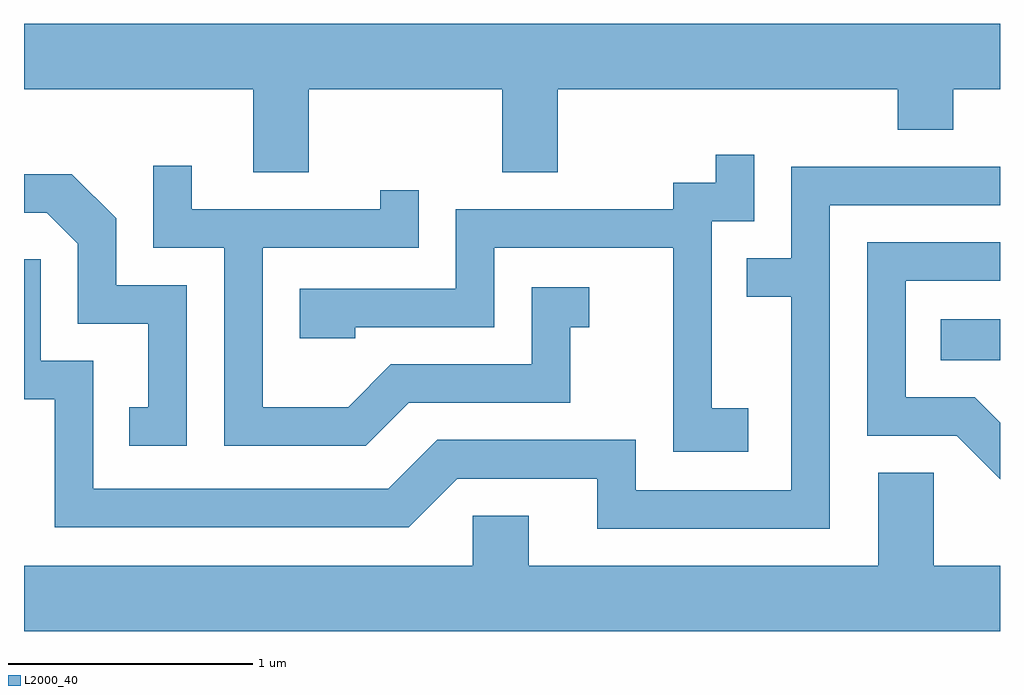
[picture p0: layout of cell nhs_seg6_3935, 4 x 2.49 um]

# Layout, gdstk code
import gdstk
lib = gdstk.Library(unit=1e-6, precision=1e-09)
def R(c, l, rs):  # rectangles x0, y0, x1, y1
    for r in rs: c.add(gdstk.rectangle(r[:2], r[2:], *l))
def P(c, l, *ps):  # polygons
    for p in ps: c.add(gdstk.Polygon(p, *l))
L2000_40 = (2000, 40)

nhs_seg6_3935 = lib.new_cell('nhs_seg6_3935')
R(nhs_seg6_3935, L2000_40, [(307.368,1597.766,307.611,1597.934)])
P(nhs_seg6_3935, L2000_40, [(304.779,1598.876),(305.571,1598.876),(305.571,1598.536),(305.799,1598.536),(305.799,1598.876),(307.191,1598.876),(307.191,1598.711),(307.419,1598.711),(307.419,1598.876),(307.611,1598.876),(307.611,1599.144),(303.611,1599.144),(303.611,1598.876),(304.551,1598.876),(304.551,1598.536),(304.779,1598.536)],
  [(306.579,1597.569),(306.429,1597.569),(306.429,1598.336),(306.604,1598.336),(306.604,1598.608),(306.446,1598.608),(306.446,1598.494),(306.271,1598.494),(306.271,1598.384),(305.381,1598.384),(305.381,1598.059),(304.741,1598.059),(304.741,1597.856),(304.969,1597.856),(304.969,1597.901),(305.539,1597.901),(305.539,1598.226),(306.271,1598.226),(306.271,1597.391),(306.579,1597.391)],
  [(305.187,1597.591),(305.849,1597.591),(305.849,1597.901),(305.928,1597.901),(305.928,1598.064),(305.691,1598.064),(305.691,1597.749),(305.114,1597.749),(304.939,1597.574),(304.589,1597.574),(304.589,1598.226),(305.229,1598.226),(305.229,1598.463),(305.071,1598.463),(305.071,1598.384),(304.299,1598.384),(304.299,1598.563),(304.141,1598.563),(304.141,1598.226),(304.431,1598.226),(304.431,1597.416),(305.012,1597.416)],
  [(306.914,1598.401),(307.611,1598.401),(307.611,1598.559),(306.756,1598.559),(306.756,1598.184),(306.573,1598.184),(306.573,1598.026),(306.756,1598.026),(306.756,1597.234),(306.119,1597.234),(306.119,1597.439),(305.304,1597.439),(305.104,1597.239),(303.894,1597.239),(303.894,1597.764),(303.679,1597.764),(303.679,1598.179),(303.611,1598.179),(303.611,1597.606),(303.736,1597.606),(303.736,1597.081),(305.187,1597.081),(305.387,1597.281),(305.961,1597.281),(305.961,1597.076),(306.914,1597.076)],
  [(304.279,1598.074),(303.989,1598.074),(303.989,1598.347),(303.807,1598.529),(303.611,1598.529),(303.611,1598.371),(303.704,1598.371),(303.831,1598.244),(303.831,1597.916),(304.121,1597.916),(304.121,1597.574),(304.043,1597.574),(304.043,1597.416),(304.279,1597.416)],
  [(307.611,1597.51),(307.507,1597.614),(307.224,1597.614),(307.224,1598.091),(307.611,1598.091),(307.611,1598.249),(307.066,1598.249),(307.066,1597.456),(307.434,1597.456),(307.611,1597.279)],
  [(307.611,1596.924),(307.339,1596.924),(307.339,1597.304),(307.111,1597.304),(307.111,1596.924),(305.679,1596.924),(305.679,1597.129),(305.451,1597.129),(305.451,1596.924),(303.611,1596.924),(303.611,1596.656),(307.611,1596.656)])

lib.write_gds('nhs_seg6_3935.gds')
